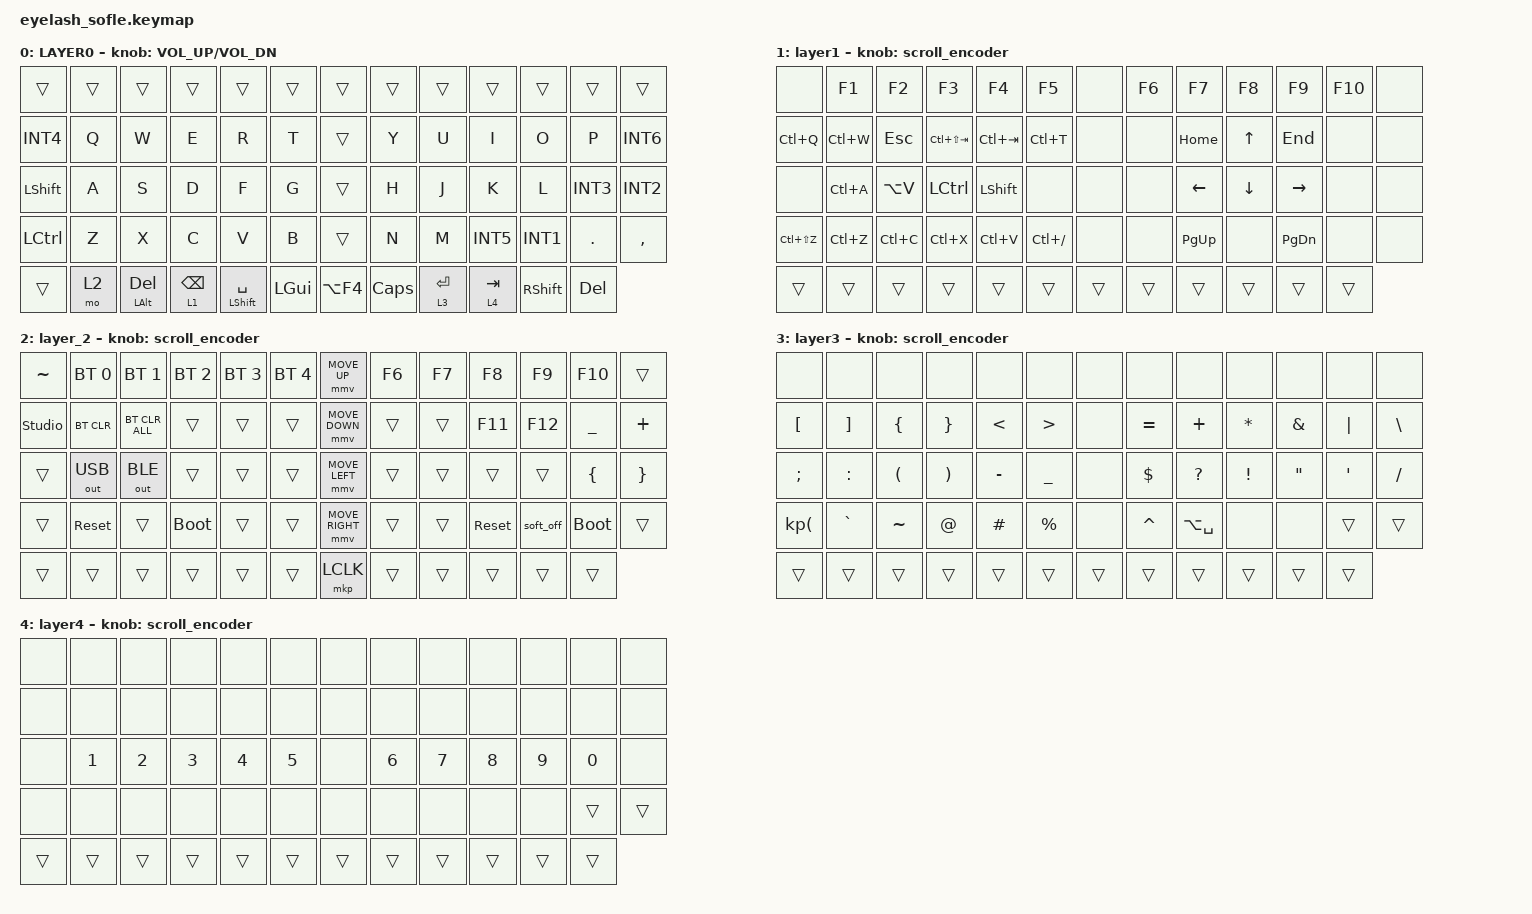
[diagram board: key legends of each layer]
#include <behaviors.dtsi>
#include <dt-bindings/zmk/bt.h>
#include <dt-bindings/zmk/keys.h>
#include <dt-bindings/zmk/mouse.h>
#include <dt-bindings/zmk/outputs.h>
#include <dt-bindings/zmk/rgb.h>

#include <input/processors.dtsi>

/*

   &mmv_input_listener {
       input-processors = <&zip_xy_scaler 2 1>;
   };

   &msc_input_listener {
       input-processors = <&zip_xy_scaler 2 1>;
   };

 */

#define ZMK_MOUSE_DEFAULT_MOVE_VAL 1200  // 600
#define ZMK_MOUSE_DEFAULT_SCRL_VAL 20    // 10


/ {
    behaviors {
        mmv {
            acceleration-exponent = <1>;      // 1
            time-to-max-speed-ms = <900>;    // 40
            delay-ms = <0>;                   // 0
        };

        msc {
            acceleration-exponent = <1>;      // 0
            time-to-max-speed-ms = <400>;      // 500
            delay-ms = <0>;                   //   10
        };

        shift_space: shift_space {
            compatible = "zmk,behavior-hold-tap";
            #binding-cells = <2>;
            tapping-term-ms = <120>;
            flavor = "balanced";
            bindings = <&kp &kp>;
        };

        layer_two_backspace: layer_two_backspace {
            compatible = "zmk,behavior-hold-tap";
            #binding-cells = <2>;
            tapping-term-ms = <120>;
            flavor = "balanced";
            bindings = <&mo &kp>;
        };

        alt_delete: alt_delete {
            compatible = "zmk,behavior-hold-tap";
            #binding-cells = <2>;
            tapping-term-ms = <120>;
            flavor = "balanced";
            bindings = <&kp &kp>;
        };

        layer_three_enter: layer_three_enter {
            compatible = "zmk,behavior-hold-tap";
            #binding-cells = <2>;
            tapping-term-ms = <120>;
            flavor = "balanced";
            bindings = <&mo &kp>;
        };

        layer_four_tab: layer_four_tab {
            compatible = "zmk,behavior-hold-tap";
            #binding-cells = <2>;
            tapping-term-ms = <120>;
            flavor = "balanced";
            bindings = <&mo &kp>;
        };
    };

    scroll_encoder: scroll_encoder {
        compatible = "zmk,behavior-sensor-rotate";
        #sensor-binding-cells = <0>;
        bindings = <&msc SCRL_DOWN>, <&msc SCRL_UP>;

        tap-ms = <30>;
    };

    keymap {
        compatible = "zmk,keymap";

         layer0 {
             bindings = <
         &trans      &trans     &trans        &trans        &trans  &trans       &trans     &trans     &trans     &trans     &trans           &trans      &trans
         &kp INT4    &kp Q      &kp W         &kp E         &kp R   &kp T        &trans   &kp Y      &kp U      &kp I      &kp O            &kp P       &kp INT6
         &kp LSHFT    &kp A      &kp S         &kp D         &kp F   &kp G        &trans   &kp H      &kp J      &kp K      &kp L             &kp INT3    &kp INT2
         &kp LCTRL   &kp Z      &kp X         &kp C         &kp V   &kp B        &trans  &kp N      &kp M     &kp INT5          &kp INT1    &kp DOT    &kp COMMA  
         &trans      &mo 2      &alt_delete LALT DELETE     &layer_two_backspace 1 BACKSPACE     &shift_space LSHIFT SPACE          &kp LEFT_GUI    &kp LA(F4)  &kp CAPS  &layer_three_enter 3 ENTER  &layer_four_tab 4 TAB  &kp RIGHT_SHIFT  &kp DELETE
             >;
        
            sensor-bindings = <&inc_dec_kp C_VOLUME_UP C_VOL_DN>;
            display-name = "LAYER0";
        };


        layer_1 {
            bindings = <
&none        &kp F1           &kp F2          &kp F3           &kp F4           &kp F5             &none     &kp F6           &kp F7           &kp F8      &kp F9     &kp F10           &none
&kp LC(Q)    &kp LC(W)        &kp ESC         &kp LC(LS(TAB))  &kp LC(TAB)      &kp LC(T)          &none     &none            &kp HOME         &kp UP      &kp END    &none             &none
&none        &kp LC(A)        &kp LA(V)       &kp LCTRL        &kp LSHFT        &none              &none     &none            &kp LEFT         &kp DOWN    &kp RIGHT  &none             &none
&kp LC(LS(Z)) &kp LC(Z)       &kp LC(C)       &kp LC(X)       &kp LC(V)         &kp LC(SLASH)       &none     &none            &kp PG_UP        &none       &kp PG_DN  &none             &none
&trans        &trans          &trans          &trans          &trans            &trans              &trans    &trans           &trans           &trans     &trans      &trans
            >;
 
            display-name = "layer1";
            sensor-bindings = <&scroll_encoder>;
        };

        layer_2 {
            bindings = <
&kp TILDE  &bt BT_SEL 0  &bt BT_SEL 1    &bt BT_SEL 2  &bt BT_SEL 3  &bt BT_SEL 4    &mmv MOVE_UP     &kp F6  &kp F7  &kp F8      &kp F9     &kp F10      &trans
&studio_unlock      &bt BT_CLR    &bt BT_CLR_ALL  &trans        &trans        &trans          &mmv MOVE_DOWN   &trans  &trans  &kp F11     &kp F12    &kp UNDER    &kp PLUS
&trans     &out OUT_USB  &out OUT_BLE    &trans        &trans        &trans          &mmv MOVE_LEFT   &trans  &trans  &trans      &trans     &kp LBRC     &kp RBRC
&trans     &sys_reset    &trans          &bootloader   &trans        &trans          &mmv MOVE_RIGHT  &trans  &trans  &sys_reset  &soft_off  &bootloader  &trans
&trans     &trans        &trans          &trans        &trans        &trans          &mkp LCLK        &trans  &trans  &trans      &trans     &trans
            >;

            sensor-bindings = <&scroll_encoder>;
        };

        layer_3 {
            bindings = <
&none          &none        &none       &none       &none       &none       &none   &none             &none             &none             &none     &none      &none
&kp LBKT       &kp RBKT     &kp LBRC    &kp RBRC    &kp LT      &kp GT      &none   &kp EQUAL         &kp PLUS         &kp ASTRK        &kp AMPS  &kp PIPE   &kp BSLH
&kp SEMI       &kp COLON    &kp LPAR    &kp RPAR    &kp MINUS   &kp UNDER   &none   &kp DLLR          &kp QUESTION     &kp EXCLAMATION  &kp DQT   &kp SQT    &kp FSLH
&kp KP_LPAR    &kp GRAVE    &kp TILDE   &kp AT      &kp HASH    &kp PRCNT   &none   &kp CARET         &kp LA(SPACE)     &none             &none     &trans     &trans
&trans         &trans       &trans      &trans      &trans      &trans      &trans  &trans            &trans            &trans            &trans    &trans
            >;

            display-name = "layer3";
            sensor-bindings = <&scroll_encoder>;
        };

        layer_4 {
            bindings = <
&none     &none     &none     &none     &none     &none     &none   &none     &none     &none     &none     &none     &none
&none     &none     &none     &none     &none     &none     &none   &none     &none     &none     &none     &none     &none
&none     &kp N1    &kp N2    &kp N3    &kp N4    &kp N5    &none   &kp N6    &kp N7    &kp N8    &kp N9    &kp N0    &none
&none     &none     &none     &none     &none     &none     &none   &none     &none     &none     &none     &trans    &trans
&trans    &trans    &trans    &trans    &trans    &trans    &trans  &trans    &trans    &trans    &trans    &trans
            >;

            display-name = "layer4";
            sensor-bindings = <&scroll_encoder>;
        };
    };
};
